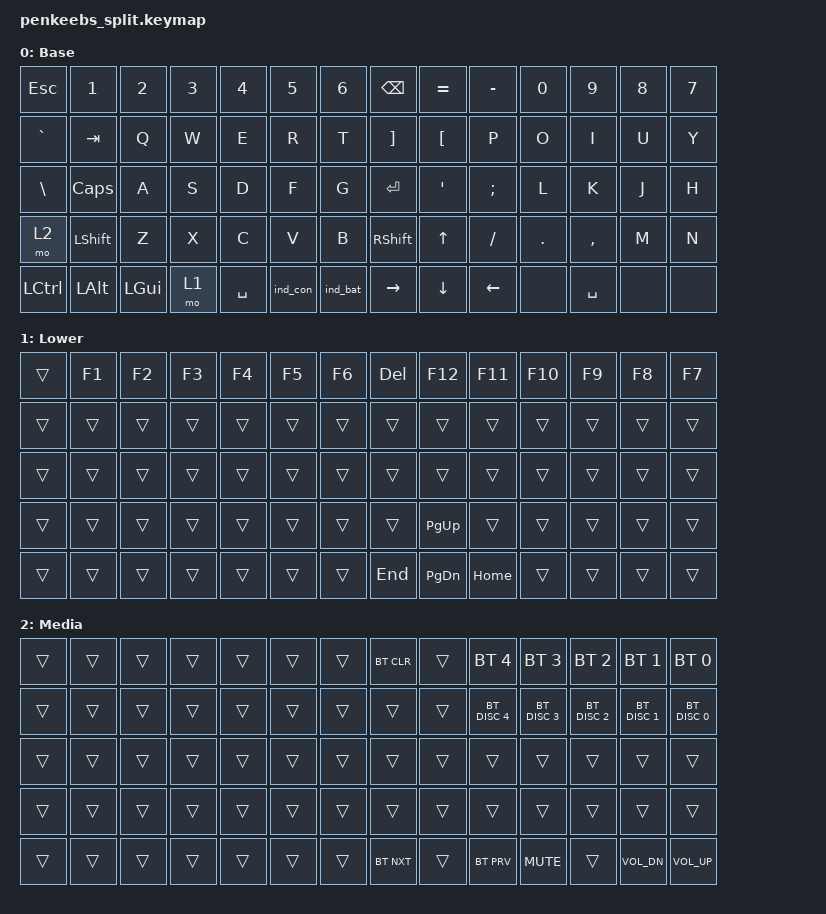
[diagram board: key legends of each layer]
#include <behaviors.dtsi>
#include <dt-bindings/zmk/keys.h>
#include <dt-bindings/zmk/bt.h>
#include <behaviors/rgbled_widget.dtsi>

/ {
    // keymap {
    //     compatible = "zmk,keymap";

    //     //  |------------------------------------------------------------------------------------------------------------------|
    //     //  |  ESC  |   1   |   2   |   3   |   4   |   5   |   6   |  |   7   |   8   |   9   |   0   |   -   |   =   |  BSPC |
    //     //  |   `   |  TAB  |   Q   |   W   |   E   |   R   |   T   |  |   Y   |   U   |   I   |   O   |   P   |   [   |   ]   |
    //     //  |   \   |  CAP  |   A   |   S   |   D   |   F   |   G   |  |   H   |   J   |   K   |   L   |   ;   |   '   |  ENT  |
    //     //  |       |  SHFT |   Z   |   X   |   C   |   V   |   B   |  |   N   |   M   |   ,   |   .   |   /   |   UP  |  SHFT |
    //     //  |  CTRL |  ALT  |  GUI  |       |  SPC  |       |       |  |       |       |  SPC  |       |  LFT  |   DN  |  RGT  |
    //     //  |------------------------------------------------------------------------------------------------------------------|

    //     default_layer {
    //         display-name = "Base";
    //         bindings = <
    //             &kp ESC   &kp N1    &kp N2   &kp N3  &kp N4    &kp N5   &kp N6     &kp N7  &kp N8  &kp N9    &kp N0  &kp MINUS &kp EQL  &kp BSPC
    //             &kp GRAVE &kp TAB   &kp Q    &kp W   &kp E     &kp R    &kp T      &kp Y   &kp U   &kp I     &kp O   &kp P     &kp LBKT &kp RBKT
    //             &kp BSLH  &kp CAPS  &kp A    &kp S   &kp D     &kp F    &kp G      &kp H   &kp J   &kp K     &kp L   &kp SEMI  &kp SQT  &kp RET
    //             &none     &kp LSHFT &kp Z    &kp X   &kp C     &kp V    &kp B      &kp N   &kp M   &kp COMMA &kp DOT &kp FSLH  &kp UP   &kp RSHFT
    //             &kp LCTRL &kp LALT  &kp LGUI &mo 1   &kp SPACE &ind_con &ind_bat   &none   &none   &kp SPACE &mo 2   &kp LEFT  &kp DOWN &kp RIGHT
    //         >;
    //     };

    //     //  |------------------------------------------------------------------------------------------------------------------|
    //     //  |       |   F1  |   F2  |   F3  |   F4  |   F5  |   F6  |  |   F7  |   F8  |   F9  |  F10  |  F11  |  F12  |  DEL  |
    //     //  |       |       |       |       |       |       |       |  |       |       |       |       |       |       |       |
    //     //  |       |       |       |       |       |       |       |  |       |       |       |       |       |       |       |
    //     //  |       |       |       |       |       |       |       |  |       |       |       |       |       |  PGUP |       |
    //     //  |       |       |       |       |       |       |       |  |  VLUP |  VLDN |       |  MUTE |  HOME |  PGDN |  END  |
    //     //  |------------------------------------------------------------------------------------------------------------------|

    //     lower_layer {
    //         display-name = "Lower";
    //         bindings = <
    //             &trans    &kp F1    &kp F2   &kp F3  &kp F4    &kp F5  &kp F6     &kp F7       &kp F8       &kp F9    &kp F10    &kp F11   &kp F12   &kp DEL
    //             &trans    &trans    &trans   &trans  &trans    &trans  &trans     &trans       &trans       &trans    &trans     &trans    &trans    &trans
    //             &trans    &trans    &trans   &trans  &trans    &trans  &trans     &trans       &trans       &trans    &trans     &trans    &trans    &trans
    //             &trans    &trans    &trans   &trans  &trans    &trans  &trans     &trans       &trans       &trans    &trans     &trans    &kp PG_UP &trans
    //             &trans    &trans    &trans   &trans  &trans    &trans  &trans     &kp C_VOL_UP &kp C_VOL_DN &trans    &kp C_MUTE &kp HOME  &kp PG_DN &kp END
    //         >;
    //     };
    // };

    ///// Right side is backwards from what it should be (above) because I'm an idiot....
    keymap {
        compatible = "zmk,keymap";

        //  |------------------------------------------------------------------------------------------------------------------|
        //  |  ESC  |   1   |   2   |   3   |   4   |   5   |   6   |  |   7   |   8   |   9   |   0   |   -   |   =   |  BSPC |
        //  |   `   |  TAB  |   Q   |   W   |   E   |   R   |   T   |  |   Y   |   U   |   I   |   O   |   P   |   [   |   ]   |
        //  |   \   |  CAP  |   A   |   S   |   D   |   F   |   G   |  |   H   |   J   |   K   |   L   |   ;   |   '   |  ENT  |
        //  | MEDIA |  SHFT |   Z   |   X   |   C   |   V   |   B   |  |   N   |   M   |   ,   |   .   |   /   |   UP  |  SHFT |
        //  |  CTRL |  ALT  |  GUI  | LOWER |  SPC  |       |       |  |       |       |  SPC  |       |  LFT  |   DN  |  RGT  |
        //  |------------------------------------------------------------------------------------------------------------------|

        default_layer {
            display-name = "Base";
            bindings = <
                &kp ESC   &kp N1    &kp N2   &kp N3  &kp N4    &kp N5   &kp N6     &kp BSPC  &kp EQL  &kp MINUS &kp N0  &kp N9    &kp N8   &kp N7
                &kp GRAVE &kp TAB   &kp Q    &kp W   &kp E     &kp R    &kp T      &kp RBKT  &kp LBKT &kp P     &kp O   &kp I     &kp U    &kp Y
                &kp BSLH  &kp CAPS  &kp A    &kp S   &kp D     &kp F    &kp G      &kp RET   &kp SQT  &kp SEMI  &kp L   &kp K     &kp J    &kp H
                &mo 2     &kp LSHFT &kp Z    &kp X   &kp C     &kp V    &kp B      &kp RSHFT &kp UP   &kp FSLH  &kp DOT &kp COMMA &kp M    &kp N
                &kp LCTRL &kp LALT  &kp LGUI &mo 1   &kp SPACE &ind_con &ind_bat   &kp RIGHT &kp DOWN &kp LEFT  &none   &kp SPACE &none    &none
            >;
        };

        //  |------------------------------------------------------------------------------------------------------------------|
        //  |       |   F1  |   F2  |   F3  |   F4  |   F5  |   F6  |  |   F7  |   F8  |   F9  |  F10  |  F11  |  F12  |  DEL  |
        //  |       |       |       |       |       |       |       |  |       |       |       |       |       |       |       |
        //  |       |       |       |       |       |       |       |  |       |       |       |       |       |       |       |
        //  |       |       |       |       |       |       |       |  |       |       |       |       |       |  PGUP |       |
        //  |       |       |       |       |       |       |       |  |       |       |       |       |  HOME |  PGDN |  END  |
        //  |------------------------------------------------------------------------------------------------------------------|

        lower_layer {
            display-name = "Lower";
            bindings = <
                &trans    &kp F1    &kp F2   &kp F3  &kp F4    &kp F5  &kp F6     &kp DEL      &kp F12      &kp F11   &kp F10    &kp F9    &kp F8   &kp F7
                &trans    &trans    &trans   &trans  &trans    &trans  &trans     &trans       &trans       &trans    &trans     &trans    &trans   &trans
                &trans    &trans    &trans   &trans  &trans    &trans  &trans     &trans       &trans       &trans    &trans     &trans    &trans   &trans
                &trans    &trans    &trans   &trans  &trans    &trans  &trans     &trans       &kp PG_UP    &trans    &trans     &trans    &trans   &trans
                &trans    &trans    &trans   &trans  &trans    &trans  &trans     &kp END      &kp PG_DN    &kp HOME  &trans     &trans    &trans   &trans
            >;
        };
        
        //  |------------------------------------------------------------------------------------------------------------------|
        //  |       |       |       |       |       |       |       |  |  BT 0 |  BT 1 |  BT 2 |  BT 3 |  BT 4 |       | BTCLR |
        //  |       |       |       |       |       |       |       |  | BTD 0 | BTD 1 | BTD 2 | BTD 3 | BTD 4 |       |       |
        //  |       |       |       |       |       |       |       |  |       |       |       |       |       |       |       |
        //  |       |       |       |       |       |       |       |  |       |       |       |       |       |       |       |
        //  |       |       |       |       |       |       |       |  |  VLUP |  VLDN |       |  MUTE |  BTPR |       |  BTNX |
        //  |------------------------------------------------------------------------------------------------------------------|

        media_layer {
            display-name = "Media";
            bindings = <
                &trans    &trans    &trans   &trans   &trans    &trans   &trans     &bt BT_CLR   &trans    &bt BT_SEL 4  &bt BT_SEL 3  &bt BT_SEL 2  &bt BT_SEL 1  &bt BT_SEL 0
                &trans    &trans    &trans   &trans   &trans    &trans   &trans     &trans       &trans    &bt BT_DISC 4 &bt BT_DISC 3 &bt BT_DISC 2 &bt BT_DISC 1 &bt BT_DISC 0
                &trans    &trans    &trans   &trans   &trans    &trans   &trans     &trans       &trans    &trans        &trans        &trans        &trans        &trans
                &trans    &trans    &trans   &trans   &trans    &trans   &trans     &trans       &trans    &trans        &trans        &trans        &trans        &trans
                &trans    &trans    &trans   &trans   &trans    &trans   &trans     &bt BT_NXT   &trans    &bt BT_PRV    &kp C_MUTE    &trans        &kp C_VOL_DN  &kp C_VOL_UP
            >;
        };
    };
};
